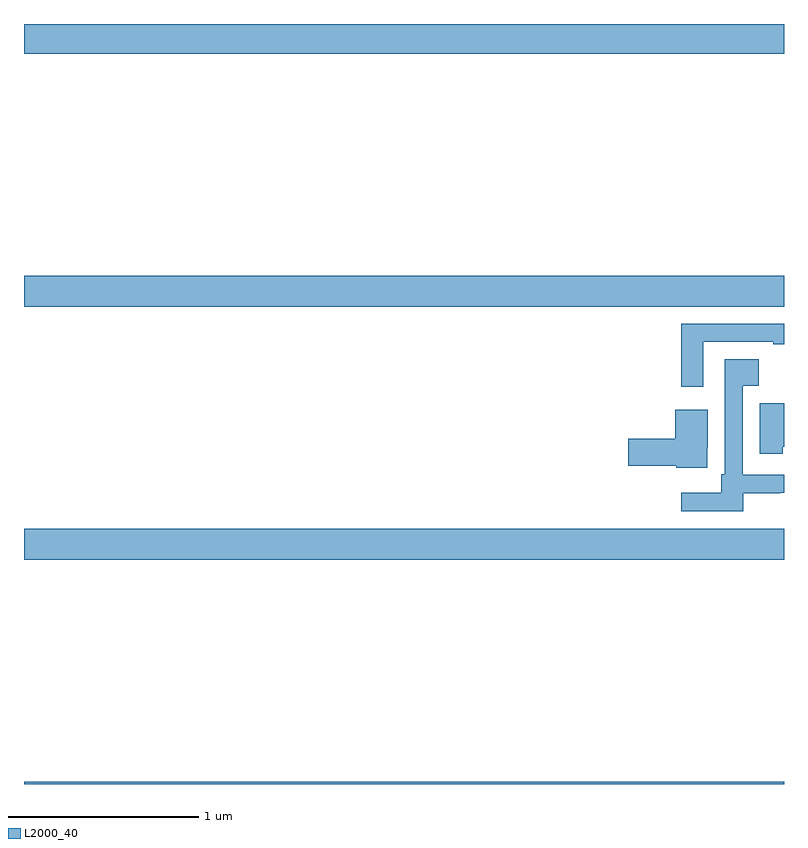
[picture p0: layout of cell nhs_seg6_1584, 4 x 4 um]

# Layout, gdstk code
import gdstk
lib = gdstk.Library(unit=1e-6, precision=1e-09)
def R(c, l, rs):  # rectangles x0, y0, x1, y1
    for r in rs: c.add(gdstk.rectangle(r[:2], r[2:], *l))
def P(c, l, *ps):  # polygons
    for p in ps: c.add(gdstk.Polygon(p, *l))
L2000_40 = (2000, 40)

nhs_seg6_1584 = lib.new_cell('nhs_seg6_1584')
R(nhs_seg6_1584, L2000_40, [(207,935.5,211,935.512), (207,936.68,211,936.844), (207,938.012,211,938.176), (207,939.344,211,939.5)])
P(nhs_seg6_1584, L2000_40, [(210.576,937.827),(210.944,937.827),(210.944,937.815),(211,937.815),(211,937.923),(210.46,937.923),(210.46,937.59),(210.576,937.59)],
  [(210.786,937.031),(210.98,937.031),(210.98,937.032),(211,937.032),(211,937.128),(210.783,937.128),(210.783,937.595),(210.868,937.595),(210.868,937.735),(210.687,937.735),(210.687,937.129),(210.671,937.129),(210.671,937.033),(210.459,937.033),(210.459,936.936),(210.786,936.936)],
  [(210.994,937.274),(211,937.274),(211,937.504),(210.872,937.504),(210.872,937.238),(210.994,937.238)],
  [(210.597,937.267),(210.598,937.267),(210.598,937.471),(210.428,937.471),(210.428,937.316),(210.18,937.316),(210.18,937.174),(210.432,937.174),(210.432,937.164),(210.597,937.164)])

lib.write_gds('nhs_seg6_1584.gds')
